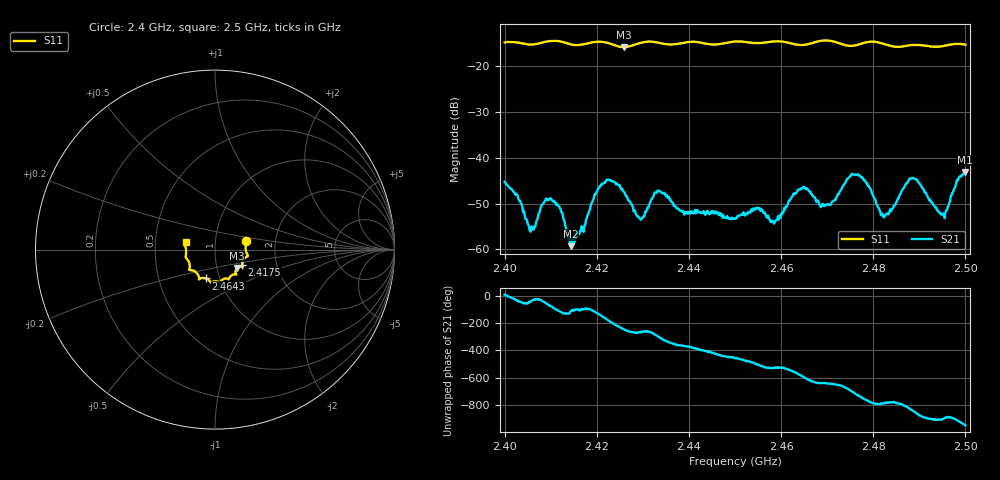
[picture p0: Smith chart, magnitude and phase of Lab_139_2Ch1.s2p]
# Hz S RI R 50
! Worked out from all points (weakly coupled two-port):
!   601 points, 2.4 GHz to 2.5 GHz, reference 50 ohm
!   highest |S21| = -43.13 dB at 2.4998 GHz (marker M1); lowest = -59.3 dB at 2.4143 GHz (marker M2)
!   lowest |S11| = -15.9 dB at 2.4258 GHz (marker M3), VSWR 1.38, Z = 62.3 - j13.2 ohm
!   |S11| at or under -10 dB: start of sweep to end of sweep
!   S12 and S22 are empty: the file has one direction only
!   S11 on the Smith chart (normalised r, x): 2.4 GHz: 1.41, +0.14; 2.4175 GHz: 1.33, -0.23; 2.4643 GHz: 0.86, -0.29; 2.5 GHz: 0.72, +0.06
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2.4e9  0.1731 0.0487  0.00537 0.000886  0 0  0 0
2.405833e9  0.1704 0.0044  0.0014 -0.00109  0 0  0 0
2.4105e9  0.1835 -0.0347  0.00023 -0.00338  0 0  0 0
2.414333e9  0.1644 -0.0491  -0.000448 -0.000988  0 0  0 0
2.416667e9  0.1525 -0.0738  -0.000174 -0.00178  0 0  0 0
2.4175e9  0.1514 -0.0835  -0.000118 -0.00185  0 0  0 0
2.421167e9  0.154 -0.0972  -0.00448 -0.00246  0 0  0 0
2.425833e9  0.1219 -0.103  -0.00185 0.00384  0 0  0 0
2.4295e9  0.116 -0.1347  -0.000253 0.0021  0 0  0 0
2.433333e9  0.1137 -0.1373  0.00208 0.00379  0 0  0 0
2.439e9  0.0795 -0.1599  0.00236 -0.000341  0 0  0 0
2.45e9  0.0285 -0.1816  -0.000335 -0.00214  0 0  0 0
2.458667e9  -0.0222 -0.183  -0.00195 -0.000559  0 0  0 0
2.464333e9  -0.0497 -0.1609  -0.00334 0.00317  0 0  0 0
2.466667e9  -0.0761 -0.1589  -0.000239 0.00401  0 0  0 0
2.470333e9  -0.0889 -0.1654  0.000717 0.003  0 0  0 0
2.4765e9  -0.1217 -0.1164  0.00648 -0.000745  0 0  0 0
2.483333e9  -0.1407 -0.0899  0.00108 -0.00215  0 0  0 0
2.4885e9  -0.1617 -0.0466  -0.00306 -0.00517  0 0  0 0
2.495167e9  -0.1634 0.012  -0.00247 0.00013  0 0  0 0
2.499833e9  -0.1651 0.0424  -0.00501 0.00485  0 0  0 0
2.5e9  -0.164 0.0433  -0.00445 0.00521  0 0  0 0
